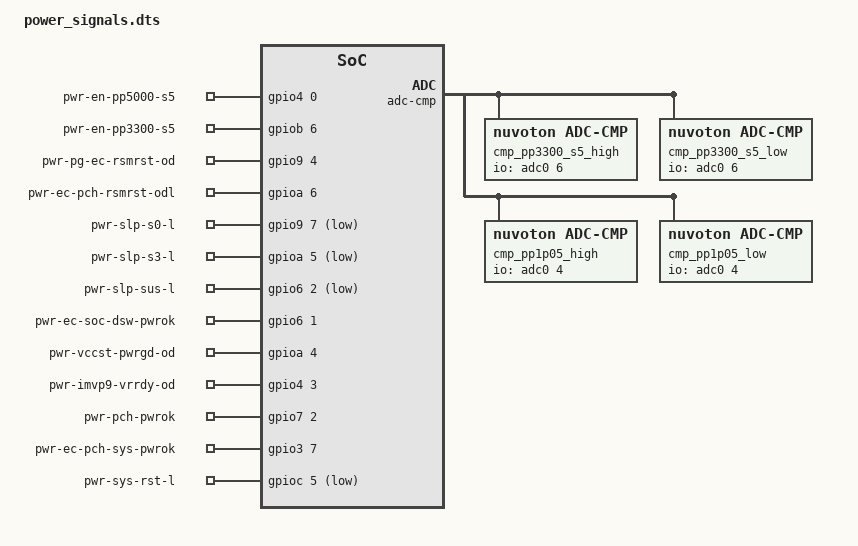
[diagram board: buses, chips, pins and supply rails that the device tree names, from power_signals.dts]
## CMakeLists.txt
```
# Copyright 2021 The Chromium OS Authors. All rights reserved.
# Use of this source code is governed by a BSD-style license that can be
# found in the LICENSE file.

cmake_minimum_required(VERSION 3.13.1)

find_package(Zephyr REQUIRED HINTS $ENV{ZEPHYR_BASE})
project(nivviks)

zephyr_include_directories(include)
```

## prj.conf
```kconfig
# Copyright 2021 The ChromiumOS Authors
# Use of this source code is governed by a BSD-style license that can be
# found in the LICENSE file.

CONFIG_BOARD_NIVVIKS=y
CONFIG_PLATFORM_EC_OCPC=n
CONFIG_PLATFORM_EC_BC12_DETECT_PI3USB9201=n
CONFIG_PLATFORM_EC_USB_PD_TCPM_RT1718S=y
CONFIG_PLATFORM_EC_USBC_PPC_RT1718S=y
CONFIG_PLATFORM_EC_BC12_SINGLE_DRIVER=n
CONFIG_PLATFORM_EC_I2C_DEBUG=y
CONFIG_PLATFORM_EC_ACCELGYRO_LSM6DSO=y
```

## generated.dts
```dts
/* Copyright 2022 The ChromiumOS Authors
 * Use of this source code is governed by a BSD-style license that can be
 * found in the LICENSE file.
 *
 * This file is auto-generated - do not edit!
 */

/ {

	named-adc-channels {
		compatible = "named-adc-channels";

		adc_ec_vsense_pp1050_proc: ec_vsense_pp1050_proc {
			enum-name = "ADC_PP1050_PROC";
			io-channels = <&adc0 4>;
		};
		adc_ec_vsense_pp3300_s5: ec_vsense_pp3300_s5 {
			enum-name = "ADC_PP3300_S5";
			io-channels = <&adc0 6>;
		};
		adc_temp_sensor_1: temp_sensor_1 {
			enum-name = "ADC_TEMP_SENSOR_1";
			io-channels = <&adc0 0>;
		};
		adc_temp_sensor_2: temp_sensor_2 {
			enum-name = "ADC_TEMP_SENSOR_2";
			io-channels = <&adc0 1>;
		};
		adc_temp_sensor_3: temp_sensor_3 {
			enum-name = "ADC_TEMP_SENSOR_3";
			io-channels = <&adc0 10>;
		};
	};

	named-gpios {
		compatible = "named-gpios";

		gpio_acc_int_l: acc_int_l {
			gpios = <&gpio5 0 GPIO_INPUT>;
		};
		gpio_all_sys_pwrgd: all_sys_pwrgd {
			gpios = <&gpioa 7 GPIO_INPUT>;
		};
		gpio_ccd_mode_odl: ccd_mode_odl {
			gpios = <&gpioe 5 GPIO_INPUT>;
			enum-name = "GPIO_CCD_MODE_ODL";
		};
		gpio_cpu_c10_gate_l: cpu_c10_gate_l {
			gpios = <&gpio6 7 GPIO_INPUT>;
		};
		gpio_ec_battery_pres_odl: ec_battery_pres_odl {
			gpios = <&gpioa 3 GPIO_INPUT>;
			enum-name = "GPIO_BATT_PRES_ODL";
		};
		gpio_ec_cbi_wp: ec_cbi_wp {
			gpios = <&gpio7 4 GPIO_OUTPUT>;
		};
		gpio_ec_edp_bl_en_od: ec_edp_bl_en_od {
			gpios = <&gpiod 3 GPIO_ODR_HIGH>;
			enum-name = "GPIO_ENABLE_BACKLIGHT";
		};
		gpio_ec_entering_rw: ec_entering_rw {
			gpios = <&gpio0 3 GPIO_OUTPUT>;
			enum-name = "GPIO_ENTERING_RW";
		};
		gpio_ec_gsc_packet_mode: ec_gsc_packet_mode {
			gpios = <&gpio7 5 GPIO_OUTPUT>;
			enum-name = "GPIO_PACKET_MODE_EN";
		};
		gpio_ec_kso_02_inv: ec_kso_02_inv {
			gpios = <&gpio1 7 (GPIO_OUTPUT_LOW | GPIO_ACTIVE_LOW)>;
		};
		gpio_ec_pch_wake_odl: ec_pch_wake_odl {
			gpios = <&gpiob 0 GPIO_ODR_LOW>;
		};
		gpio_ec_prochot_odl: ec_prochot_odl {
			gpios = <&gpiof 1 GPIO_ODR_HIGH>;
		};
		gpio_ec_soc_dsw_pwrok: ec_soc_dsw_pwrok {
			gpios = <&gpio6 1 GPIO_OUTPUT>;
		};
		gpio_ec_soc_hdmi_hpd: ec_soc_hdmi_hpd {
			gpios = <&gpioe 4 GPIO_OUTPUT>;
		};
		gpio_ec_soc_int_odl: ec_soc_int_odl {
			gpios = <&gpio8 0 GPIO_ODR_HIGH>;
			enum-name = "GPIO_EC_INT_L";
		};
		gpio_ec_soc_pch_pwrok_od: ec_soc_pch_pwrok_od {
			gpios = <&gpio7 2 GPIO_ODR_HIGH>;
		};
		gpio_ec_soc_pwr_btn_odl: ec_soc_pwr_btn_odl {
			gpios = <&gpioc 1 GPIO_ODR_HIGH>;
			enum-name = "GPIO_PCH_PWRBTN_L";
		};
		gpio_ec_soc_rsmrst_l: ec_soc_rsmrst_l {
			gpios = <&gpioa 6 GPIO_OUTPUT>;
		};
		gpio_ec_soc_rtcrst: ec_soc_rtcrst {
			gpios = <&gpio7 6 GPIO_OUTPUT>;
		};
		gpio_ec_soc_sys_pwrok: ec_soc_sys_pwrok {
			gpios = <&gpio3 7 GPIO_OUTPUT>;
		};
		gpio_ec_soc_vccst_pwrgd_od: ec_soc_vccst_pwrgd_od {
			gpios = <&gpioa 4 GPIO_ODR_HIGH>;
		};
		gpio_ec_wp_odl: ec_wp_odl {
			gpios = <&gpioa 1 (GPIO_INPUT | GPIO_ACTIVE_LOW)>;
		};
		gpio_en_kb_bl: en_kb_bl {
			gpios = <&gpioa 0 GPIO_OUTPUT>;
			enum-name = "GPIO_EN_KEYBOARD_BACKLIGHT";
		};
		gpio_en_pp3300_s5: en_pp3300_s5 {
			gpios = <&gpiob 6 GPIO_OUTPUT>;
			enum-name = "GPIO_TEMP_SENSOR_POWER";
		};
		gpio_en_pp5000_pen_x: en_pp5000_pen_x {
			gpios = <&gpioe 2 GPIO_OUTPUT>;
		};
		gpio_en_pp5000_s5: en_pp5000_s5 {
			gpios = <&gpio4 0 GPIO_OUTPUT>;
		};
		gpio_en_slp_z: en_slp_z {
			gpios = <&gpioe 1 GPIO_OUTPUT>;
		};
		gpio_en_usb_a0_vbus: en_usb_a0_vbus {
			gpios = <&gpio9 1 GPIO_OUTPUT>;
		};
		gpio_gsc_ec_pwr_btn_odl: gsc_ec_pwr_btn_odl {
			gpios = <&gpio0 0 GPIO_INPUT_PULL_UP>;
			enum-name = "GPIO_POWER_BUTTON_L";
		};
		gpio_hdmi_sel: hdmi_sel {
			gpios = <&gpioc 6 GPIO_OUTPUT>;
		};
		gpio_imu_int_l: imu_int_l {
			gpios = <&gpio5 6 GPIO_INPUT>;
		};
		gpio_imvp91_vrrdy_od: imvp91_vrrdy_od {
			gpios = <&gpio4 3 GPIO_INPUT>;
		};
		gpio_lid_open: lid_open {
			gpios = <&gpiod 2 GPIO_INPUT>;
			enum-name = "GPIO_LID_OPEN";
		};
		gpio_pen_detect_odl: pen_detect_odl {
			gpios = <&gpio9 6 GPIO_INPUT_PULL_UP>;
		};
		gpio_pg_pp1050_mem_s3_od: pg_pp1050_mem_s3_od {
			gpios = <&gpiof 0 GPIO_INPUT>;
		};
		gpio_pg_pp5000_s5_od: pg_pp5000_s5_od {
			gpios = <&gpio4 2 GPIO_INPUT>;
		};
		gpio_rsmrst_pwrgd_l: rsmrst_pwrgd_l {
			gpios = <&gpio9 4 GPIO_INPUT_PULL_UP>;
		};
		gpio_slp_s0_l: slp_s0_l {
			gpios = <&gpio9 7 GPIO_INPUT>;
		};
		gpio_slp_s3_l: slp_s3_l {
			gpios = <&gpioa 5 GPIO_INPUT>;
		};
		gpio_slp_s4_l: slp_s4_l {
			gpios = <&gpio7 0 GPIO_INPUT>;
		};
		gpio_slp_sus_l: slp_sus_l {
			gpios = <&gpio6 2 GPIO_INPUT>;
		};
		gpio_sub_usb_a1_ilimit_sdp: sub_usb_a1_ilimit_sdp {
			gpios = <&gpiod 5 GPIO_OUTPUT>;
			enum-name = "GPIO_USB2_ILIM_SEL";
		};
		gpio_sys_rst_odl: sys_rst_odl {
			gpios = <&gpioc 5 GPIO_ODR_HIGH>;
		};
		gpio_tablet_mode_l: tablet_mode_l {
			gpios = <&gpio9 5 GPIO_INPUT>;
			enum-name = "GPIO_TABLET_MODE_L";
		};
		gpio_usb_a0_ilimit_sdp: usb_a0_ilimit_sdp {
			/* output only pin */
			gpios = <&gpio8 5 (GPIO_GET_OUTPUT | GPIO_OUTPUT)>;
			enum-name = "GPIO_USB1_ILIM_SEL";
		};
		gpio_usb_c0_int_odl: usb_c0_int_odl {
			gpios = <&gpio0 1 GPIO_INPUT_PULL_UP>;
		};
		gpio_vccin_aux_vid0: vccin_aux_vid0 {
			gpios = <&gpio9 2 (GPIO_INPUT | GPIO_VOLTAGE_1P8)>;
		};
		gpio_vccin_aux_vid1: vccin_aux_vid1 {
			gpios = <&gpioe 3 (GPIO_INPUT | GPIO_VOLTAGE_1P8)>;
		};
		gpio_voldn_btn_odl: voldn_btn_odl {
			gpios = <&gpioa 2 GPIO_INPUT_PULL_UP>;
			enum-name = "GPIO_VOLUME_DOWN_L";
		};
		gpio_volup_btn_odl: volup_btn_odl {
			gpios = <&gpio9 3 GPIO_INPUT_PULL_UP>;
			enum-name = "GPIO_VOLUME_UP_L";
		};
	};

	named-i2c-ports {
		compatible = "named-i2c-ports";

		i2c_ec_i2c_eeprom: ec_i2c_eeprom {
			i2c-port = <&i2c0_0>;
			enum-names = "I2C_PORT_EEPROM";
		};
		i2c_ec_i2c_sensor: ec_i2c_sensor {
			i2c-port = <&i2c1_0>;
			enum-names = "I2C_PORT_SENSOR";
		};
		i2c_ec_i2c_usb_c0: ec_i2c_usb_c0 {
			i2c-port = <&i2c3_0>;
			enum-names = "I2C_PORT_USB_C0_TCPC";
		};
		i2c_ec_i2c_sub_usb_c1: ec_i2c_sub_usb_c1 {
			i2c-port = <&i2c5_1>;
			enum-names = "I2C_PORT_USB_C1_TCPC";
		};
		i2c_ec_i2c_batt: ec_i2c_batt {
			i2c-port = <&i2c7_0>;
			enum-names = "I2C_PORT_BATTERY";
		};
	};
};

&adc0 {
	status = "okay";
	pinctrl-0 = <&adc0_chan0_gp45
		     &adc0_chan1_gp44
		     &adc0_chan4_gp41
		     &adc0_chan6_gp34
		     &adc0_chan10_gpe0>;
	pinctrl-names = "default";
};


&i2c0_0 {
	status = "okay";
	pinctrl-0 = <&i2c0_0_sda_scl_gpb4_b5>;
	pinctrl-names = "default";
};

&i2c1_0 {
	status = "okay";
	pinctrl-0 = <&i2c1_0_sda_scl_gp87_90>;
	pinctrl-names = "default";
};

&i2c3_0 {
	status = "okay";
	pinctrl-0 = <&i2c3_0_sda_scl_gpd0_d1>;
	pinctrl-names = "default";
};

&i2c5_1 {
	status = "okay";
	pinctrl-0 = <&i2c5_1_sda_scl_gpf4_f5>;
	pinctrl-names = "default";
};

&i2c7_0 {
	status = "okay";
	pinctrl-0 = <&i2c7_0_sda_scl_gpb2_b3>;
	pinctrl-names = "default";
};

&i2c_ctrl0 {
	status = "okay";
};

&i2c_ctrl1 {
	status = "okay";
};

&i2c_ctrl3 {
	status = "okay";
};

&i2c_ctrl5 {
	status = "okay";
};

&i2c_ctrl7 {
	status = "okay";
};
```

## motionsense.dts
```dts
/* Copyright 2021 The Chromium OS Authors. All rights reserved.
 * Use of this source code is governed by a BSD-style license that can be
 * found in the LICENSE file.
 */

#include <dt-bindings/motionsense/utils.h>


/ {
	aliases {
		/*
		 * Interrupt bindings for sensor devices.
		 */
		bmi3xx-int = &base_accel;
		lis2dw12-int = &lid_accel;
	};

	/*
	 * Declare mutexes used by sensor drivers.
	 * A mutex node is used to create an instance of mutex_t.
	 * A mutex node is referenced by a sensor node if the
	 * corresponding sensor driver needs to use the
	 * instance of the mutex.
	 */
	motionsense-mutex {
		compatible = "cros-ec,motionsense-mutex";
		lid_mutex: lid-mutex {
		};

		base_mutex: base-mutex {
		};
	};

	/* Rotation matrix used by drivers. */
	motionsense-rotation-ref {
		compatible = "cros-ec,motionsense-rotation-ref";
		lid_rot_ref: lid-rotation-ref {
			mat33 = <(-1) 0 0
				 0 1 0
				 0 0 (-1)>;
		};

		base_rot_ref: base-rot-ref {
			mat33 = <(-1) 0 0
				 0 (-1) 0
				 0 0 1>;
		};

		base_rot_inverted: base-rotation-inverted {
			mat33 = <1 0 0
				 0 (-1) 0
				 0 0 (-1)>;
		};
	};

	/*
	 * Driver specific data. A driver-specific data can be shared with
	 * different motion sensors while they are using the same driver.
	 *
	 * If a node's compatible starts with "cros-ec,accelgyro-", it is for
	 * a common structure defined in accelgyro.h.
	 * e.g) compatible = "cros-ec,accelgyro-als-drv-data" is for
	 * "struct als_drv_data_t" in accelgyro.h
	 */
	 motionsense-sensor-data {
		bmi323_data: bmi323-drv-data {
			compatible = "cros-ec,drvdata-bmi3xx";
			status = "okay";
		};

		bma422_data: bma422-drv-data {
			compatible = "cros-ec,drvdata-bma4xx";
			status = "okay";
		};
	};

	/*
	 * List of motion sensors that creates motion_sensors array.
	 * The nodelabel "lid_accel" and "base_accel" are used to indicate
	 * motion sensor IDs for lid angle calculation.
	 * TODO(b/238139272): The first entries of the array must be
	 * accelerometers,then gyroscope. Fix this dependency in the DTS
	 * processing which makes the devicetree entries independent.
	 */
	motionsense-sensor {
		lid_accel: lid-accel {
			compatible = "cros-ec,bma4xx";
			status = "okay";

			active-mask = "SENSOR_ACTIVE_S0_S3";
			location = "MOTIONSENSE_LOC_LID";
			mutex = <&lid_mutex>;
			port = <&i2c_ec_i2c_sensor>;
			rot-standard-ref = <&lid_rot_ref>;
			default-range = <2>;
			drv-data = <&bma422_data>;
			configs {
				compatible =
					"cros-ec,motionsense-sensor-config";
				ec-s0 {
					odr = <(10000 | ROUND_UP_FLAG)>;
				};
				ec-s3 {
					odr = <(10000 | ROUND_UP_FLAG)>;
				};
			};
		};

		base_accel: base-accel {
			compatible = "cros-ec,bmi3xx-accel";
			status = "okay";

			active-mask = "SENSOR_ACTIVE_S0_S3";
			location = "MOTIONSENSE_LOC_BASE";
			mutex = <&base_mutex>;
			port = <&i2c_ec_i2c_sensor>;
			rot-standard-ref = <&base_rot_ref>;
			drv-data = <&bmi323_data>;
			configs {
				compatible =
					"cros-ec,motionsense-sensor-config";
				ec-s0 {
					odr = <(10000 | ROUND_UP_FLAG)>;
				};
				ec-s3 {
					odr = <(10000 | ROUND_UP_FLAG)>;
				};
			};
		};

		base_gyro: base-gyro {
			compatible = "cros-ec,bmi3xx-gyro";
			status = "okay";

			active-mask = "SENSOR_ACTIVE_S0_S3";
			location = "MOTIONSENSE_LOC_BASE";
			mutex = <&base_mutex>;
			port = <&i2c_ec_i2c_sensor>;
			rot-standard-ref = <&base_rot_ref>;
			drv-data = <&bmi323_data>;
		};
	};

	motionsense-sensor-info {
		compatible = "cros-ec,motionsense-sensor-info";

		/*
		 * list of GPIO interrupts that have to
		 * be enabled at initial stage
		 */
		sensor-irqs = <&int_imu>;
		/* list of sensors in force mode */
		accel-force-mode-sensors = <&lid_accel>;
	};
};
```

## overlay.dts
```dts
/* Copyright 2021 The ChromiumOS Authors
 * Use of this source code is governed by a BSD-style license that can be
 * found in the LICENSE file.
 */

#include <cros/thermistor/thermistor.dtsi>

/ {
	aliases {
		gpio-cbi-wp = &gpio_ec_cbi_wp;
		gpio-wp = &gpio_ec_wp_odl;
		int-wp = &int_wp_l;
		gpio-kbd-kso2 = &gpio_ec_kso_02_inv;
	};

	ec-console {
		compatible = "ec-console";
		disabled = "events", "lpc", "hostcmd";
	};

	batteries {
		default_battery: lgc {
			compatible = "lgc,ap18c8k", "battery-smart";
		};
		lgc_ap19b8m {
			compatible = "lgc,ap19b8m", "battery-smart";
		};
	};

	hibernate-wake-pins {
		compatible = "cros-ec,hibernate-wake-pins";
		wakeup-irqs = <
			&int_power_button
			&int_lid_open
		>;
	};

	gpio-interrupts {
		compatible = "cros-ec,gpio-interrupts";

		int_power_button: power_button {
			irq-pin = <&gpio_gsc_ec_pwr_btn_odl>;
			flags = <GPIO_INT_EDGE_BOTH>;
			handler = "power_button_interrupt";
		};
		int_wp_l: wp_l {
			irq-pin = <&gpio_ec_wp_odl>;
			flags = <GPIO_INT_EDGE_BOTH>;
			handler = "switch_interrupt";
		};
		int_lid_open: lid_open {
			irq-pin = <&gpio_lid_open>;
			flags = <GPIO_INT_EDGE_BOTH>;
			handler = "lid_interrupt";
		};
		int_tablet_mode: tablet_mode {
			irq-pin = <&gpio_tablet_mode_l>;
			flags = <GPIO_INT_EDGE_BOTH>;
			handler = "gmr_tablet_switch_isr";
		};
		int_imu: ec_imu {
			irq-pin = <&gpio_imu_int_l>;
			flags = <GPIO_INT_EDGE_FALLING>;
			handler = "lsm6dso_interrupt";
		};
		int_vol_down: vol_down {
			irq-pin = <&gpio_voldn_btn_odl>;
			flags = <GPIO_INT_EDGE_BOTH>;
			handler = "button_interrupt";
		};
		int_vol_up: vol_up {
			irq-pin = <&gpio_volup_btn_odl>;
			flags = <GPIO_INT_EDGE_BOTH>;
			handler = "button_interrupt";
		};
		int_usb_c0: usb_c0 {
			irq-pin = <&gpio_usb_c0_int_odl>;
			flags = <GPIO_INT_EDGE_FALLING>;
			handler = "usb_interrupt";
		};
		int_usb_c1: usb_c1 {
			irq-pin = <&gpio_sb_1>;
			flags = <GPIO_INT_EDGE_FALLING>;
			handler = "usb_interrupt";
		};
	};

	named-gpios {
		gpio_sb_1: sb-1 {
			gpios = <&gpio0 2 GPIO_PULL_UP>;
			no-auto-init;
		};

		gpio_sb_2: sb-2 {
			gpios = <&gpiod 4 GPIO_OUTPUT>;
			no-auto-init;
		};

		/*
		 * Set I2C pins for type C sub-board to be low voltage (I2C5_1).
		 * We do this for all boards, since the pins are 3.3V tolerant,
		 * and the only 2 types of sub-boards used on nivviks both have
		 * type-C ports on them.
		 */
		gpio_sb_3: sb-3 {
			gpios = <&gpiof 4 (GPIO_OPEN_DRAIN | GPIO_VOLTAGE_1P8)>;
			no-auto-init;
		};
		gpio_sb_4: sb-4 {
			gpios = <&gpiof 5 (GPIO_INPUT | GPIO_VOLTAGE_1P8)>;
			no-auto-init;
		};
		gpio_fan_enable: fan-enable {
			gpios = <&gpio6 3 GPIO_OUTPUT>;
			no-auto-init;
		};
		ec-i2c-sensor-scl {
			gpios = <&gpio9 0 (GPIO_INPUT | GPIO_VOLTAGE_1P8)>;
		};
		ec-i2c-sensor-sda {
			gpios = <&gpio8 7 (GPIO_INPUT | GPIO_VOLTAGE_1P8)>;
		};
	};

	/*
	 * Aliases used for sub-board GPIOs.
	 */
	aliases {
		/*
		 * Input GPIO when used with type-C port 1
		 * Output when used with HDMI sub-board
		 */
		gpio-usb-c1-int-odl = &gpio_sb_1;
		gpio-en-rails-odl = &gpio_sb_1;
		/*
		 * Sub-board with type A USB, enable.
		 */
		gpio-en-usb-a1-vbus = &gpio_sb_2;
		/*
		 * HPD pins for HDMI sub-board.
		 */
		gpio-hdmi-en-odl = &gpio_sb_3;
		gpio-hpd-odl = &gpio_sb_4;
		/*
		 * Enable S5 rails for LTE sub-board
		 */
		gpio-en-sub-s5-rails = &gpio_sb_2;
	};

	temp_memory: memory {
		compatible = "cros-ec,temp-sensor-thermistor";
		thermistor = <&thermistor_3V3_51K1_47K_4050B>;
		adc = <&adc_temp_sensor_1>;
	};
	temp_charger: charger {
		compatible = "cros-ec,temp-sensor-thermistor";
		thermistor = <&thermistor_3V3_51K1_47K_4050B>;
		adc = <&adc_temp_sensor_2>;
	};
	temp_ambient: ambient {
		compatible = "cros-ec,temp-sensor-thermistor";
		thermistor = <&thermistor_3V3_51K1_47K_4050B>;
		adc = <&adc_temp_sensor_3>;
	};

	named-temp-sensors {
		compatible = "cros-ec,temp-sensors";
		memory {
			temp_fan_off = <35>;
			temp_fan_max = <60>;
			temp_host_high = <85>;
			temp_host_halt = <90>;
			temp_host_release_high = <80>;
			power-good-pin = <&gpio_ec_soc_dsw_pwrok>;
			sensor = <&temp_memory>;
		};
		charger {
			temp_fan_off = <35>;
			temp_fan_max = <60>;
			temp_host_high = <85>;
			temp_host_halt = <90>;
			temp_host_release_high = <80>;
			power-good-pin = <&gpio_ec_soc_dsw_pwrok>;
			sensor = <&temp_charger>;
		};
		ambient {
			temp_fan_off = <35>;
			temp_fan_max = <60>;
			temp_host_high = <85>;
			temp_host_halt = <90>;
			temp_host_release_high = <80>;
			power-good-pin = <&gpio_ec_soc_dsw_pwrok>;
			sensor = <&temp_ambient>;
		};
	};

	usba {
		compatible = "cros-ec,usba-port-enable-pins";
		/*
		 * sb_2 is only configured as GPIO when USB-A1 is present,
		 * but it's still safe to control when disabled.
		 *
		 * ILIM_SEL pins are referred to by legacy enum name,
		 * GPIO_USB*_ILIM_SEL. The one for port A1 is unused on
		 * sub-boards that don't have USB-A so is safe to control
		 * regardless of system configuration.
		 */
		enable-pins = <&gpio_en_usb_a0_vbus &gpio_sb_2>;
		status = "okay";
	};

	usbc {
		#address-cells = <1>;
		#size-cells = <0>;

		port0@0 {
			compatible = "named-usbc-port";
			reg = <0>;
			bc12 = <&bc12_port0>;
			chg = <&chg_port0>;
			usb-mux-chain-0 {
				compatible = "cros-ec,usb-mux-chain";
				usb-muxes = <&virtual_mux_0>;
			};
		};
		port0-muxes {
			virtual_mux_0: virtual-mux-0 {
				compatible = "cros-ec,usbc-mux-virtual";
			};
		};
		/*
		 * TODO(b:211693800): port1 may not be present on some
		 * sub-boards.
		 */
		port1@1 {
			compatible = "named-usbc-port";
			reg = <1>;
			bc12 = <&bc12_port1>;
			chg = <&chg_port1>;
			/*
			 * Some sub-boards may disable all usb muxes in chain
			 * except virtual_mux_1
			 */
			usb-muxes = <&virtual_mux_1 &tcpci_mux_1>;
		};
		port1-muxes {
			virtual_mux_1: virtual-mux-1 {
				compatible = "cros-ec,usbc-mux-virtual";
			};
			tcpci_mux_1: tcpci-mux-1 {
				compatible = "parade,usbc-mux-ps8xxx";
			};
		};
	};

	fans {
		compatible = "cros-ec,fans";

		fan_0 {
			pwms = <&pwm5 5 PWM_KHZ(1) PWM_POLARITY_NORMAL>;
			rpm_min = <2200>;
			rpm_start = <2200>;
			rpm_max = <4200>;
			tach = <&tach2>;
			enable_gpio = <&gpio_fan_enable>;
		};
	};

	 /*
	  * Declare unused GPIOs so that they are shut down
	  * and use minimal power
	  */
	  unused-pins {
		compatible = "unused-gpios";
		unused-gpios =
			<&gpio3 2 0>,
			<&gpio3 3 0>,
			<&gpio3 5 0>,
			<&gpio3 6 0>,
			<&gpio5 7 0>,
			<&gpio6 0 0>,
			<&gpio6 3 0>,
			<&gpio6 6 0>,
			<&gpio7 3 0>,
			<&gpio8 3 0>,
			<&gpio8 6 0>,
			<&gpiob 1 0>,
			<&gpiob 7 0>,
			<&gpioc 7 0>,
			<&gpiof 2 0>,
			<&gpiof 3 0>;
	 };
};

&thermistor_3V3_51K1_47K_4050B {
	status = "okay";
};

&adc_ec_vsense_pp3300_s5 {
	/*
	 * Voltage divider on input has 47k upper and 220k lower legs with
	 * 2714 mV full-scale reading on the ADC. Apply the largest possible
	 * multiplier (without overflowing int32) to get the best possible
	 * approximation of the actual ratio, but derate by a factor of two to
	 * ensure unexpectedly high values won't overflow.
	 */
	mul = <(791261 / 2)>;
	div = <(651975 / 2)>;
};

/* Set bus speeds for I2C */
&i2c0_0 {
	label = "I2C_EEPROM";
	clock-frequency = <I2C_BITRATE_FAST>;

	cbi_eeprom: eeprom@50 {
		compatible = "atmel,at24";
		reg = <0x50>;
		size = <2048>;
		pagesize = <16>;
		address-width = <8>;
		timeout = <5>;
	};
};

&i2c1_0 {
	label = "I2C_SENSOR";
	clock-frequency = <I2C_BITRATE_FAST>;
};

&i2c3_0 {
	label = "I2C_USB_C0_TCPC";
	clock-frequency = <I2C_BITRATE_FAST_PLUS>;

	bc12_port0: pi3usb9201@5f {
		compatible = "pericom,pi3usb9201";
		status = "okay";
		reg = <0x5f>;
		/*
		 * BC1.2 interrupt is shared with TCPC, so
		 * IRQ is not specified here and handled by
		 * usb_c0_interrupt.
		 */
	};

	chg_port0: isl923x@9 {
		compatible = "intersil,isl923x";
		status = "okay";
		reg = <0x9>;
	};
};

&i2c5_1 {
	label = "I2C_SUB_C1_TCPC";
	clock-frequency = <I2C_BITRATE_FAST_PLUS>;

	bc12_port1: pi3usb9201@5f {
		compatible = "pericom,pi3usb9201";
		status = "okay";
		reg = <0x5f>;
	};

	chg_port1: isl923x@9 {
		compatible = "intersil,isl923x";
		status = "okay";
		reg = <0x9>;
	};

};

&i2c7_0 {
	label = "I2C_BATTERY";
	clock-frequency = <I2C_BITRATE_STANDARD>;
};

&pwm5_gpb7 {
	drive-open-drain;
};

&pwm5 {
	status = "okay";
	clock-bus = "NPCX_CLOCK_BUS_LFCLK";
	pinctrl-0 = <&pwm5_gpb7>;
	pinctrl-names = "default";
};

/* Tachometer for fan speed measurement */
&tach2 {
	status = "okay";
	pinctrl-0 = <&ta2_1_in_gp73>;
	pinctrl-names = "default";
	port = <NPCX_TACH_PORT_A>; /* port-A is selected */
	sample-clk = <NPCX_TACH_FREQ_LFCLK>; /* Use LFCLK as sampling clock */
	pulses-per-round = <2>; /* number of pulses per round of encoder */
};

/* host interface */
&espi0 {
	status = "okay";
	pinctrl-0 = <&espi_lpc_gp46_47_51_52_53_54_55_57>;
	pinctrl-names = "default";
};

/*
 * Declare GPIOs that have leakage current caused by board issues here. NPCX ec
 * will disable their input buffers before entering deep sleep and restore them
 * after waking up automatically for better power consumption.
 */
&power_leakage_io {
	leak-gpios = <&gpioa 4 0
		      &gpiof 1 0>;
};
```

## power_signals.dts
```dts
/* Copyright 2022 The ChromiumOS Authors
 * Use of this source code is governed by a BSD-style license that can be
 * found in the LICENSE file.
 */

/ {
	chosen {
		intel-ap-pwrseq,espi = &espi0;
	};

	common-pwrseq {
		compatible = "intel,ap-pwrseq";

		sys-pwrok-delay = <10>;
		all-sys-pwrgd-timeout = <20>;
	};

	pwr-en-pp5000-s5 {
		compatible = "intel,ap-pwrseq-gpio";
		dbg-label = "PP5000_S5 enable output to regulator";
		enum-name = "PWR_EN_PP5000_A";
		gpios = <&gpio4 0 0>;
		output;
	};
	pwr-en-pp3300-s5 {
		compatible = "intel,ap-pwrseq-gpio";
		dbg-label = "PP3300_S5 enable output to LS";
		enum-name = "PWR_EN_PP3300_A";
		gpios = <&gpiob 6 0>;
		output;
	};
	pwr-pg-ec-rsmrst-od {
		compatible = "intel,ap-pwrseq-gpio";
		dbg-label = "RSMRST power good from regulator";
		enum-name = "PWR_RSMRST";
		gpios = <&gpio9 4 0>;
		interrupt-flags = <GPIO_INT_EDGE_BOTH>;
	};
	pwr-ec-pch-rsmrst-odl {
		compatible = "intel,ap-pwrseq-gpio";
		dbg-label = "RSMRST output to PCH";
		enum-name = "PWR_EC_PCH_RSMRST";
		gpios = <&gpioa 6 0>;
		output;
	};
	pwr-slp-s0-l {
		compatible = "intel,ap-pwrseq-gpio";
		dbg-label = "SLP_S0_L input from PCH";
		enum-name = "PWR_SLP_S0";
		gpios = <&gpio9 7 GPIO_ACTIVE_LOW>;
		interrupt-flags = <GPIO_INT_EDGE_BOTH>;
	};
	pwr-slp-s3-l {
		compatible = "intel,ap-pwrseq-gpio";
		dbg-label = "SLP_S3_L input from PCH";
		enum-name = "PWR_SLP_S3";
		gpios = <&gpioa 5 GPIO_ACTIVE_LOW>;
		interrupt-flags = <GPIO_INT_EDGE_BOTH>;
	};
	pwr-slp-sus-l {
		compatible = "intel,ap-pwrseq-gpio";
		dbg-label = "SLP_SUS_L input from PCH";
		enum-name = "PWR_SLP_SUS";
		gpios = <&gpio6 2 GPIO_ACTIVE_LOW>;
		interrupt-flags = <GPIO_INT_EDGE_BOTH>;
	};
	pwr-ec-soc-dsw-pwrok {
		compatible = "intel,ap-pwrseq-gpio";
		dbg-label = "DSW_PWROK output to PCH";
		enum-name = "PWR_EC_SOC_DSW_PWROK";
		gpios = <&gpio6 1 0>;
		output;
	};
	pwr-vccst-pwrgd-od {
		compatible = "intel,ap-pwrseq-gpio";
		dbg-label = "VCCST_PWRGD output to PCH";
		enum-name = "PWR_VCCST_PWRGD";
		gpios = <&gpioa 4 GPIO_OPEN_DRAIN>;
		output;
	};
	pwr-imvp9-vrrdy-od {
		compatible = "intel,ap-pwrseq-gpio";
		dbg-label = "VRRDY input from IMVP9";
		enum-name = "PWR_IMVP9_VRRDY";
		gpios = <&gpio4 3 0>;
	};
	pwr-pch-pwrok {
		compatible = "intel,ap-pwrseq-gpio";
		dbg-label = "PCH_PWROK output to PCH";
		enum-name = "PWR_PCH_PWROK";
		gpios = <&gpio7 2 GPIO_OPEN_DRAIN>;
		output;
	};
	pwr-ec-pch-sys-pwrok {
		compatible = "intel,ap-pwrseq-gpio";
		dbg-label = "SYS_PWROK output to PCH";
		enum-name = "PWR_EC_PCH_SYS_PWROK";
		gpios = <&gpio3 7 0>;
		output;
	};
	pwr-sys-rst-l {
		compatible = "intel,ap-pwrseq-gpio";
		dbg-label = "SYS_RESET# output to PCH";
		enum-name = "PWR_SYS_RST";
		gpios = <&gpioc 5 (GPIO_ACTIVE_LOW|GPIO_OPEN_DRAIN)>;
		output;
	};
	pwr-slp-s4 {
		compatible = "intel,ap-pwrseq-vw";
		dbg-label = "SLP_S4 virtual wire input from PCH";
		enum-name = "PWR_SLP_S4";
		virtual-wire = "ESPI_VWIRE_SIGNAL_SLP_S4";
		vw-invert;
	};
	pwr-slp-s5 {
		compatible = "intel,ap-pwrseq-vw";
		dbg-label = "SLP_S5 virtual wire input from PCH";
		enum-name = "PWR_SLP_S5";
		virtual-wire = "ESPI_VWIRE_SIGNAL_SLP_S5";
		vw-invert;
	};
	pwr-all-sys-pwrgd {
		compatible = "intel,ap-pwrseq-external";
		dbg-label = "Combined all power good";
		enum-name = "PWR_ALL_SYS_PWRGD";
	};
	pwr-adc-pp3300 {
		compatible = "intel,ap-pwrseq-adc";
		dbg-label = "PP3300 PWROK (from ADC)";
		enum-name = "PWR_DSW_PWROK";
		trigger-high = <&cmp_pp3300_s5_high>;
		trigger-low = <&cmp_pp3300_s5_low>;
	};
	pwr-adc-pp1p05 {
		compatible = "intel,ap-pwrseq-adc";
		dbg-label = "PP1P05 PWROK (from ADC)";
		enum-name = "PWR_PG_PP1P05";
		trigger-high = <&cmp_pp1p05_high>;
		trigger-low = <&cmp_pp1p05_low>;
	};

	adc-cmp {
		cmp_pp3300_s5_high: pp3300_high {
			compatible = "nuvoton,adc-cmp";
			io-channels = <&adc0 6>;
			comparison = "ADC_CMP_NPCX_GREATER";
			/*
			 * This is 90% of nominal voltage considering voltage
			 * divider on ADC input.
			 */
			threshold-mv = <2448>;
			high-prio;
		};
		cmp_pp3300_s5_low: pp3300_low {
			compatible = "nuvoton,adc-cmp";
			io-channels = <&adc0 6>;
			comparison = "ADC_CMP_NPCX_LESS_OR_EQUAL";
			threshold-mv = <2448>;
			high-prio;
		};
		cmp_pp1p05_high: pp1p05_high {
			compatible = "nuvoton,adc-cmp";
			io-channels = <&adc0 4>;
			comparison = "ADC_CMP_NPCX_GREATER";
			/* Setting at 90% of nominal voltage */
			threshold-mv = <945>;
			high-prio;
		};
		cmp_pp1p05_low: pp1p05_low {
			compatible = "nuvoton,adc-cmp";
			io-channels = <&adc0 4>;
			comparison = "ADC_CMP_NPCX_LESS_OR_EQUAL";
			threshold-mv = <945>;
			high-prio;
		};
	};
};

/*
 * Because the power signals directly reference the GPIOs,
 * the correspinding named-gpios need to have no-auto-init set.
 */
&gpio_ec_soc_dsw_pwrok {
	no-auto-init;
};
&gpio_ec_soc_pch_pwrok_od {
	no-auto-init;
};
&gpio_ec_soc_rsmrst_l {
	no-auto-init;
};
&gpio_ec_soc_sys_pwrok {
	no-auto-init;
};
&gpio_ec_soc_vccst_pwrgd_od {
	no-auto-init;
};
&gpio_en_pp3300_s5 {
	no-auto-init;
};
&gpio_en_pp5000_s5 {
	no-auto-init;
};
&gpio_imvp91_vrrdy_od {
	no-auto-init;
};
&gpio_rsmrst_pwrgd_l {
	no-auto-init;
};
&gpio_slp_s0_l {
	no-auto-init;
};
&gpio_slp_s3_l {
	no-auto-init;
};
&gpio_slp_s4_l {
	no-auto-init;
};
&gpio_slp_sus_l {
	no-auto-init;
};
&gpio_sys_rst_odl {
	no-auto-init;
};
```

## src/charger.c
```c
/* Copyright 2021 The ChromiumOS Authors
 * Use of this source code is governed by a BSD-style license that can be
 * found in the LICENSE file.
 */

#include <zephyr/logging/log.h>

#include "battery.h"
#include "charger.h"
#include "charger/isl923x_public.h"
#include "console.h"
#include "extpower.h"
#include "usb_pd.h"
#include "nissa_common.h"

LOG_MODULE_DECLARE(nissa, CONFIG_NISSA_LOG_LEVEL);

int extpower_is_present(void)
{
	int port;
	int rv;
	bool acok;

	for (port = 0; port < board_get_usb_pd_port_count(); port++) {
		rv = raa489000_is_acok(port, &acok);
		if ((rv == EC_SUCCESS) && acok)
			return 1;
	}

	return 0;
}

/*
 * Nivviks does not have a GPIO indicating whether extpower is present,
 * so detect using the charger(s).
 */
__override void board_check_extpower(void)
{
	static int last_extpower_present;
	int extpower_present = extpower_is_present();

	if (last_extpower_present ^ extpower_present)
		extpower_handle_update(extpower_present);

	last_extpower_present = extpower_present;
}

__override void board_hibernate(void)
{
	raa489000_hibernate(0, true);
	LOG_INF("Charger(s) hibernated");
	cflush();
}
```

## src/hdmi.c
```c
#include <cros_board_info.h>
#include "nissa_hdmi.h"

__override void nissa_configure_hdmi_power_gpios(void)
{
	/*
	 * Nereid versions before 2 need hdmi-en-odl to be
	 * pulled down to enable VCC on the HDMI port, but later
	 * versions (and other boards) disconnect this so
	 * the port's VCC directly follows en-rails-odl. Only
	 * configure the GPIO if needed, to save power.
	 */
	uint32_t board_version = 0;

	/* CBI errors ignored, will configure the pin */
	cbi_get_board_version(&board_version);
	if (board_version < 2) {
		nissa_configure_hdmi_vcc();
	}

	/* Still always need core rails controlled */
	nissa_configure_hdmi_rails();
}
```

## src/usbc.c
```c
/* Copyright 2021 The ChromiumOS Authors
 * Use of this source code is governed by a BSD-style license that can be
 * found in the LICENSE file.
 */

#include <zephyr/logging/log.h>

#include "charge_state_v2.h"
#include "chipset.h"
#include "hooks.h"
#include "usb_mux.h"
#include "system.h"
#include "driver/charger/isl923x_public.h"
#include "driver/retimer/anx7483_public.h"
#include "driver/tcpm/tcpci.h"
#include "hooks.h"
#include "system.h"
#include "usb_mux.h"

#include "nissa_common.h"

LOG_MODULE_DECLARE(nissa, CONFIG_NISSA_LOG_LEVEL);

struct tcpc_config_t tcpc_config[CONFIG_USB_PD_PORT_MAX_COUNT] = {
	{
		.bus_type = EC_BUS_TYPE_I2C,
		.i2c_info = {
			.port = I2C_PORT_USB_C0_TCPC,
			.addr_flags = RAA489000_TCPC0_I2C_FLAGS,
		},
		.drv = &raa489000_tcpm_drv,
		/* RAA489000 implements TCPCI 2.0 */
		.flags = TCPC_FLAGS_TCPCI_REV2_0 |
			TCPC_FLAGS_VBUS_MONITOR,
	},
	{ /* sub-board */
		.bus_type = EC_BUS_TYPE_I2C,
		.i2c_info = {
			.port = I2C_PORT_USB_C1_TCPC,
			.addr_flags = RAA489000_TCPC0_I2C_FLAGS,
		},
		.drv = &raa489000_tcpm_drv,
		/* RAA489000 implements TCPCI 2.0 */
		.flags = TCPC_FLAGS_TCPCI_REV2_0 |
			TCPC_FLAGS_VBUS_MONITOR,
	},
};

int board_is_sourcing_vbus(int port)
{
	int regval;

	tcpc_read(port, TCPC_REG_POWER_STATUS, &regval);
	return !!(regval & TCPC_REG_POWER_STATUS_SOURCING_VBUS);
}

int board_set_active_charge_port(int port)
{
	int is_real_port = (port >= 0 && port < CONFIG_USB_PD_PORT_MAX_COUNT);
	int i;
	int old_port;

	if (!is_real_port && port != CHARGE_PORT_NONE)
		return EC_ERROR_INVAL;

	old_port = charge_manager_get_active_charge_port();

	LOG_INF("New chg p%d", port);

	/* Disable all ports. */
	if (port == CHARGE_PORT_NONE) {
		for (i = 0; i < CONFIG_USB_PD_PORT_MAX_COUNT; i++) {
			tcpc_write(i, TCPC_REG_COMMAND,
				   TCPC_REG_COMMAND_SNK_CTRL_LOW);
			raa489000_enable_asgate(i, false);
		}

		return EC_SUCCESS;
	}

	/* Check if port is sourcing VBUS. */
	if (board_is_sourcing_vbus(port)) {
		LOG_WRN("Skip enable p%d", port);
		return EC_ERROR_INVAL;
	}

	/*
	 * Turn off the other ports' sink path FETs, before enabling the
	 * requested charge port.
	 */
	for (i = 0; i < CONFIG_USB_PD_PORT_MAX_COUNT; i++) {
		if (i == port)
			continue;

		if (tcpc_write(i, TCPC_REG_COMMAND,
			       TCPC_REG_COMMAND_SNK_CTRL_LOW))
			LOG_WRN("p%d: sink path disable failed.", i);
		raa489000_enable_asgate(i, false);
	}

	/*
	 * Stop the charger IC from switching while changing ports.  Otherwise,
	 * we can overcurrent the adapter we're switching to. (crbug.com/926056)
	 */
	if (old_port != CHARGE_PORT_NONE)
		charger_discharge_on_ac(1);

	/* Enable requested charge port. */
	if (raa489000_enable_asgate(port, true) ||
	    tcpc_write(port, TCPC_REG_COMMAND,
		       TCPC_REG_COMMAND_SNK_CTRL_HIGH)) {
		LOG_WRN("p%d: sink path enable failed.", port);
		charger_discharge_on_ac(0);
		return EC_ERROR_UNKNOWN;
	}

	/* Allow the charger IC to begin/continue switching. */
	charger_discharge_on_ac(0);

	return EC_SUCCESS;
}

uint16_t tcpc_get_alert_status(void)
{
	uint16_t status = 0;
	int regval;

	/*
	 * The interrupt line is shared between the TCPC and BC1.2 detector IC.
	 * Therefore, go out and actually read the alert registers to report the
	 * alert status.
	 */
	if (!gpio_pin_get_dt(GPIO_DT_FROM_NODELABEL(gpio_usb_c0_int_odl))) {
		if (!tcpc_read16(0, TCPC_REG_ALERT, &regval)) {
			/* The TCPCI Rev 1.0 spec says to ignore bits 14:12. */
			if (!(tcpc_config[0].flags & TCPC_FLAGS_TCPCI_REV2_0))
				regval &= ~((1 << 14) | (1 << 13) | (1 << 12));

			if (regval)
				status |= PD_STATUS_TCPC_ALERT_0;
		}
	}

	if (board_get_usb_pd_port_count() == 2 &&
	    !gpio_pin_get_dt(GPIO_DT_FROM_ALIAS(gpio_usb_c1_int_odl))) {
		if (!tcpc_read16(1, TCPC_REG_ALERT, &regval)) {
			/* TCPCI spec Rev 1.0 says to ignore bits 14:12. */
			if (!(tcpc_config[1].flags & TCPC_FLAGS_TCPCI_REV2_0))
				regval &= ~((1 << 14) | (1 << 13) | (1 << 12));

			if (regval)
				status |= PD_STATUS_TCPC_ALERT_1;
		}
	}

	return status;
}

void pd_power_supply_reset(int port)
{
	/* Disable VBUS */
	tcpc_write(port, TCPC_REG_COMMAND, TCPC_REG_COMMAND_SRC_CTRL_LOW);

	/* Notify host of power info change. */
	pd_send_host_event(PD_EVENT_POWER_CHANGE);
}

__override void typec_set_source_current_limit(int port, enum tcpc_rp_value rp)
{
	if (port < 0 || port >= CONFIG_USB_PD_PORT_MAX_COUNT)
		return;

	raa489000_set_output_current(port, rp);
}

int pd_set_power_supply_ready(int port)
{
	int rv;

	if (port >= CONFIG_USB_PD_PORT_MAX_COUNT)
		return EC_ERROR_INVAL;

	/* Disable charging. */
	rv = tcpc_write(port, TCPC_REG_COMMAND, TCPC_REG_COMMAND_SNK_CTRL_LOW);
	if (rv)
		return rv;

	/* Our policy is not to source VBUS when the AP is off. */
	if (chipset_in_state(CHIPSET_STATE_ANY_OFF))
		return EC_ERROR_NOT_POWERED;

	/* Provide Vbus. */
	rv = tcpc_write(port, TCPC_REG_COMMAND, TCPC_REG_COMMAND_SRC_CTRL_HIGH);
	if (rv)
		return rv;

	rv = raa489000_enable_asgate(port, true);
	if (rv)
		return rv;

	/* Notify host of power info change. */
	pd_send_host_event(PD_EVENT_POWER_CHANGE);

	return EC_SUCCESS;
}

void board_reset_pd_mcu(void)
{
	/*
	 * TODO(b:147316511): could send a reset command to the TCPC here
	 * if needed.
	 */
}

/*
 * Because the TCPCs and BC1.2 chips share interrupt lines, it's possible
 * for an interrupt to be lost if one asserts the IRQ, the other does the same
 * then the first releases it: there will only be one falling edge to trigger
 * the interrupt, and the line will be held low. We handle this by running a
 * deferred check after a falling edge to see whether the IRQ is still being
 * asserted. If it is, we assume an interrupt may have been lost and we need
 * to poll each chip for events again.
 */
#define USBC_INT_POLL_DELAY_US 5000

static void poll_c0_int(void);
DECLARE_DEFERRED(poll_c0_int);
static void poll_c1_int(void);
DECLARE_DEFERRED(poll_c1_int);

static void usbc_interrupt_trigger(int port)
{
	schedule_deferred_pd_interrupt(port);
	usb_charger_task_set_event(port, USB_CHG_EVENT_BC12);
}

static inline void poll_usb_gpio(int port, const struct gpio_dt_spec *gpio,
				 const struct deferred_data *ud)
{
	if (!gpio_pin_get_dt(gpio)) {
		usbc_interrupt_trigger(port);
		hook_call_deferred(ud, USBC_INT_POLL_DELAY_US);
	}
}

static void poll_c0_int(void)
{
	poll_usb_gpio(0, GPIO_DT_FROM_NODELABEL(gpio_usb_c0_int_odl),
		      &poll_c0_int_data);
}

static void poll_c1_int(void)
{
	poll_usb_gpio(1, GPIO_DT_FROM_ALIAS(gpio_usb_c1_int_odl),
		      &poll_c1_int_data);
}

void usb_interrupt(enum gpio_signal signal)
{
	int port;
	const struct deferred_data *ud;

	if (signal == GPIO_SIGNAL(DT_NODELABEL(gpio_usb_c0_int_odl))) {
		port = 0;
		ud = &poll_c0_int_data;
	} else {
		port = 1;
		ud = &poll_c1_int_data;
	}
	/*
	 * We've just been called from a falling edge, so there's definitely
	 * no lost IRQ right now. Cancel any pending check.
	 */
	hook_call_deferred(ud, -1);
	/* Trigger polling of TCPC and BC1.2 in respective tasks */
	usbc_interrupt_trigger(port);
	/* Check for lost interrupts in a bit */
	hook_call_deferred(ud, USBC_INT_POLL_DELAY_US);
}
```
